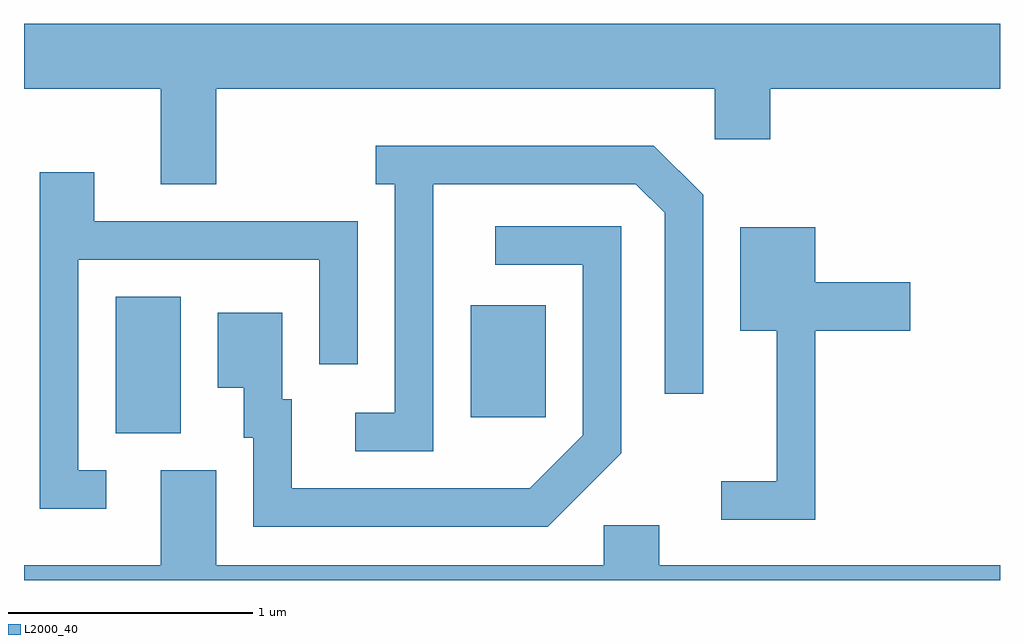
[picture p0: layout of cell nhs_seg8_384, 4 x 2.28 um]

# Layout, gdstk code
import gdstk
lib = gdstk.Library(unit=1e-6, precision=1e-09)
def R(c, l, rs):  # rectangles x0, y0, x1, y1
    for r in rs: c.add(gdstk.rectangle(r[:2], r[2:], *l))
def P(c, l, *ps):  # polygons
    for p in ps: c.add(gdstk.Polygon(p, *l))
L2000_40 = (2000, 40)

nhs_seg8_384 = lib.new_cell('nhs_seg8_384')
R(nhs_seg8_384, L2000_40, [(195.986,1894.946,196.254,1895.504), (197.441,1895.011,197.749,1895.469)])
P(nhs_seg8_384, L2000_40, [(196.399,1896.356),(198.441,1896.356),(198.441,1896.151),(198.669,1896.151),(198.669,1896.356),(199.611,1896.356),(199.611,1896.624),(195.611,1896.624),(195.611,1896.356),(196.171,1896.356),(196.171,1895.966),(196.399,1895.966)],
  [(197.289,1895.966),(198.119,1895.966),(198.236,1895.849),(198.236,1895.108),(198.394,1895.108),(198.394,1895.922),(198.192,1896.124),(197.053,1896.124),(197.053,1895.966),(197.131,1895.966),(197.131,1895.029),(196.968,1895.029),(196.968,1894.871),(197.289,1894.871)],
  [(195.948,1894.794),(195.834,1894.794),(195.834,1895.656),(196.821,1895.656),(196.821,1895.228),(196.979,1895.228),(196.979,1895.814),(195.899,1895.814),(195.899,1896.014),(195.676,1896.014),(195.676,1894.636),(195.948,1894.636)],
  [(198.059,1894.864),(198.059,1895.794),(197.543,1895.794),(197.543,1895.636),(197.901,1895.636),(197.901,1894.937),(197.684,1894.719),(196.709,1894.719),(196.709,1895.084),(196.669,1895.084),(196.669,1895.439),(196.406,1895.439),(196.406,1895.131),(196.511,1895.131),(196.511,1894.926),(196.551,1894.926),(196.551,1894.561),(197.757,1894.561)],
  [(198.854,1895.366),(199.244,1895.366),(199.244,1895.564),(198.854,1895.564),(198.854,1895.789),(198.546,1895.789),(198.546,1895.366),(198.696,1895.366),(198.696,1894.749),(198.468,1894.749),(198.468,1894.591),(198.854,1894.591)],
  [(199.611,1894.404),(198.214,1894.404),(198.214,1894.569),(197.986,1894.569),(197.986,1894.404),(196.399,1894.404),(196.399,1894.794),(196.171,1894.794),(196.171,1894.404),(195.611,1894.404),(195.611,1894.342),(199.611,1894.342)])

lib.write_gds('nhs_seg8_384.gds')
